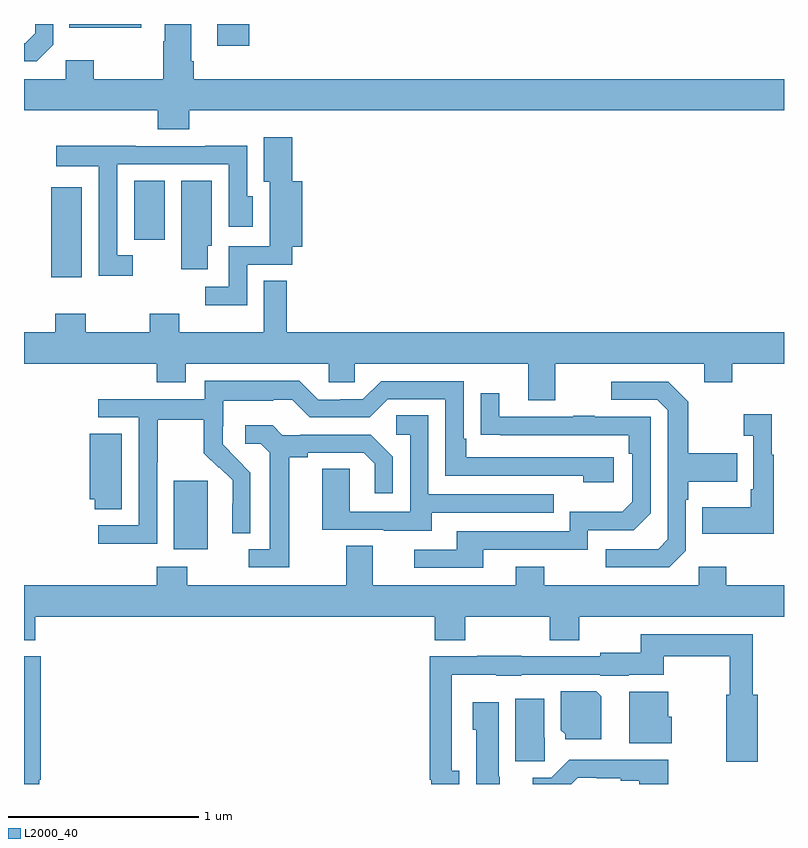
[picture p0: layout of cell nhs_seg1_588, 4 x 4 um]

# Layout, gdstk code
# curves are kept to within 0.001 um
import gdstk
lib = gdstk.Library(unit=1e-6, precision=1e-09)
def R(c, l, rs):  # rectangles x0, y0, x1, y1
    for r in rs: c.add(gdstk.rectangle(r[:2], r[2:], *l))
def P(c, l, *ps):  # polygons
    for p in ps: c.add(gdstk.Polygon(p, *l))
L2000_40 = (2000, 40)

nhs_seg1_588 = lib.new_cell('nhs_seg1_588')
R(nhs_seg1_588, L2000_40, [(143.789,537.434,143.968,537.795), (143.144,538.866,143.305,539.341), (143.579,539.064,143.74,539.375), (144.017,540.084,144.185,540.199), (143.239,540.179,143.617,540.199)])
P(nhs_seg1_588, L2000_40, [(143.87,539.744),(147,539.744),(147,539.908),(143.894,539.908),(143.894,540.004),(143.881,540.004),(143.881,540.199),(143.741,540.199),(143.741,540.107),(143.734,540.107),(143.734,539.908),(143.367,539.908),(143.367,540.007),(143.22,540.007),(143.22,539.908),(143,539.908),(143,539.744),(143.705,539.744),(143.705,539.645),(143.87,539.645)],
  [(143.154,540.09),(143.154,540.199),(143.058,540.199),(143.058,540.15),(143.007,540.099),(143,540.099),(143,540.003),(143.067,540.003)],
  [(144.174,538.932),(144.412,538.932),(144.412,539.027),(144.464,539.027),(144.464,539.371),(144.412,539.371),(144.412,539.602),(144.263,539.602),(144.263,539.369),(144.293,539.369),(144.293,539.028),(144.078,539.028),(144.078,538.815),(143.955,538.815),(143.955,538.718),(144.174,538.718)],
  [(143.572,538.983),(143.49,538.983),(143.49,539.46),(144.078,539.46),(144.078,539.133),(144.205,539.133),(144.205,539.292),(144.174,539.292),(144.174,539.558),(143.953,539.558),(143.953,539.556),(143.587,539.556),(143.587,539.558),(143.169,539.558),(143.169,539.45),(143.394,539.45),(143.394,538.875),(143.572,538.875)],
  [(143.968,539.031),(143.989,539.031),(143.989,539.375),(143.828,539.375),(143.828,538.908),(143.968,538.908)],
  [(145.795,538.412),(146.579,538.412),(146.579,538.313),(146.727,538.313),(146.727,538.412),(147,538.412),(147,538.576),(144.382,538.576),(144.382,538.847),(144.263,538.847),(144.263,538.576),(143.817,538.576),(143.817,538.675),(143.662,538.675),(143.662,538.576),(143.325,538.576),(143.325,538.675),(143.165,538.675),(143.165,538.576),(143,538.576),(143,538.412),(143.699,538.412),(143.699,538.313),(143.851,538.313),(143.851,538.412),(144.603,538.412),(144.603,538.314),(144.741,538.314),(144.741,538.412),(145.655,538.412),(145.655,538.218),(145.795,538.218)],
  [(143.7,537.892),(143.703,537.892),(143.703,538.116),(143.947,538.116),(143.947,537.941),(144.024,537.864),(144.027,537.867),(144.098,537.797),(144.098,537.674),(144.096,537.674),(144.096,537.52),(144.192,537.52),(144.192,537.838),(144.046,537.986),(144.046,538.083),(144.048,538.083),(144.048,538.217),(144.311,538.217),(144.311,538.221),(144.411,538.221),(144.504,538.128),(144.819,538.128),(144.915,538.224),(145.218,538.224),(145.218,537.822),(145.943,537.822),(145.943,537.788),(146.104,537.788),(146.104,537.918),(145.327,537.918),(145.327,538.015),(145.314,538.015),(145.314,538.32),(144.879,538.32),(144.783,538.224),(144.665,538.224),(144.665,538.221),(144.549,538.221),(144.449,538.321),(143.952,538.321),(143.952,538.224),(143.391,538.224),(143.391,538.128),(143.604,538.128),(143.604,537.561),(143.391,537.561),(143.391,537.463),(143.7,537.463)],
  [(146.484,537.426),(146.484,537.695),(146.497,537.695),(146.497,537.791),(146.753,537.791),(146.753,537.939),(146.497,537.939),(146.497,538.211),(146.391,538.317),(146.091,538.317),(146.091,538.221),(146.334,538.221),(146.388,538.167),(146.388,537.486),(146.337,537.435),(146.061,537.435),(146.061,537.339),(146.397,537.339)],
  [(145.417,537.432),(145.968,537.432),(145.968,537.534),(146.208,537.534),(146.298,537.624),(146.298,538.131),(146.003,538.131),(146.003,538.136),(145.891,538.136),(145.891,538.131),(145.501,538.131),(145.501,538.255),(145.405,538.255),(145.405,538.036),(146.182,538.035),(146.182,537.938),(146.202,537.938),(146.202,537.684),(146.149,537.631),(145.872,537.631),(145.872,537.528),(145.277,537.528),(145.277,537.432),(145.053,537.432),(145.053,537.336),(145.417,537.336)],
  [(146.947,537.931),(146.935,537.931),(146.935,538.144),(146.787,538.144),(146.787,538.031),(146.838,538.031),(146.838,537.751),(146.826,537.751),(146.826,537.655),(146.569,537.655),(146.569,537.515),(146.947,537.515)],
  [(145.147,537.627),(145.787,537.627),(145.787,537.723),(145.128,537.723),(145.128,538.139),(144.96,538.139),(144.96,538.038),(145.032,538.038),(145.032,537.633),(144.714,537.633),(144.714,537.857),(144.569,537.857),(144.569,537.537),(144.893,537.537),(144.893,537.533),(145.147,537.533)],
  [(144.397,537.92),(144.493,537.92),(144.493,537.942),(144.788,537.942),(144.845,537.885),(144.845,537.729),(144.942,537.729),(144.942,537.922),(144.826,538.038),(144.454,538.038),(144.454,538.035),(144.36,538.035),(144.308,538.087),(144.165,538.087),(144.165,537.99),(144.246,537.99),(144.293,537.943),(144.293,537.435),(144.183,537.435),(144.183,537.339),(144.397,537.339)],
  [(143.515,538.043),(143.345,538.043),(143.345,537.699),(143.372,537.699),(143.372,537.646),(143.515,537.646)],
  [(143.06,537.08),(145.163,537.08),(145.163,536.956),(145.323,536.956),(145.323,537.08),(145.768,537.08),(145.768,536.956),(145.923,536.956),(145.923,537.08),(147,537.08),(147,537.244),(146.697,537.244),(146.697,537.343),(146.55,537.343),(146.55,537.244),(145.737,537.244),(145.737,537.343),(145.589,537.343),(145.589,537.244),(144.835,537.244),(144.835,537.452),(144.695,537.452),(144.695,537.244),(143.859,537.244),(143.859,537.343),(143.699,537.343),(143.699,537.244),(143,537.244),(143,536.956),(143.06,536.956)],
  [(145.291,536.27),(145.251,536.27),(145.251,536.774),(145.485,536.774),(145.485,536.768),(145.617,536.768),(145.617,536.775),(146.034,536.775),(146.034,536.768),(146.184,536.768),(146.184,536.774),(146.368,536.774),(146.368,536.872),(146.715,536.872),(146.715,536.668),(146.696,536.668),(146.696,536.316),(146.862,536.316),(146.862,536.668),(146.836,536.668),(146.836,536.988),(146.247,536.988),(146.247,536.89),(146.034,536.89),(146.034,536.871),(145.617,536.871),(145.617,536.873),(145.385,536.873),(145.385,536.871),(145.135,536.871),(145.135,536.221),(145.143,536.221),(145.143,536.199),(145.291,536.199)],
  [(143.08,536.221),(143.087,536.221),(143.087,536.871),(143,536.871),(143,536.199),(143.08,536.199)],
  [(146.038,536.66),(146.012,536.686),(145.826,536.686),(145.826,536.482),(145.848,536.46),(145.848,536.435),(146.038,536.435)],
  [(146.41,536.553),(146.392,536.553),(146.392,536.684),(146.186,536.684),(146.186,536.414),(146.41,536.414)],
  [(145.742,536.442),(145.738,536.442),(145.738,536.647),(145.586,536.647),(145.586,536.319),(145.742,536.319)],
  [(145.504,536.238),(145.498,536.238),(145.498,536.629),(145.361,536.629),(145.361,536.484),(145.379,536.484),(145.379,536.199),(145.504,536.199)],
  [(145.914,536.232),(146.014,536.232),(146.014,536.229),(146.141,536.229),(146.141,536.217),(146.237,536.217),(146.237,536.199),(146.39,536.199),(146.39,536.326),(145.87,536.326),(145.776,536.232),(145.677,536.232),(145.677,536.199),(145.881,536.199)])

lib.write_gds('nhs_seg1_588.gds')
